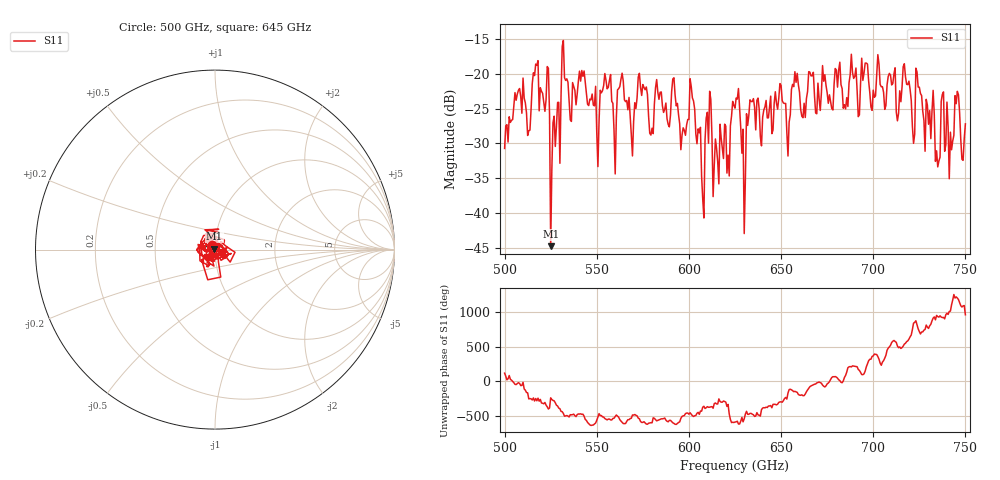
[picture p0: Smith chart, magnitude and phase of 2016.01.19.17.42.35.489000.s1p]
!Created with skrf (http://scikit-rf.org).
# GHz S RI R 50.0
!freq ReS11 ImS11
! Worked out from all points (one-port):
!   401 points, 500 GHz to 750 GHz, reference 50 ohm
!   lowest |S11| = -44.7 dB at 525 GHz (marker M1), VSWR 1.01, Z = 49.7 + j0.491 ohm
!   |S11| at or under -10 dB: start of sweep to end of sweep
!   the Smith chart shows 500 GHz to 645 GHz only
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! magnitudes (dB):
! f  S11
! 500 GHz  -30.7
! 506.9 GHz  -22.9
! 513.1 GHz  -28.2
! 516.9 GHz  -18.6
! 525 GHz  -44.7
! 531.2 GHz  -16.1
! 550 GHz  -28.4
! 556.2 GHz  -22.0
! 559.4 GHz  -28.2
! 562.5 GHz  -21.9
! 569.4 GHz  -31.8
! 573.8 GHz  -22.0
! 579.4 GHz  -28.8
! 593.8 GHz  -24.3
! 601.9 GHz  -23.5
! 607.5 GHz  -38.0
! 610.6 GHz  -30.0
! 614.4 GHz  -29.4
! 625 GHz  -24.9
! 629.4 GHz  -28.0
! 633.8 GHz  -24.0
! 653.8 GHz  -31.8
! 656.2 GHz  -21.5
! 687.5 GHz  -20.1
! 718.8 GHz  -21.6
! 735 GHz  -33.4
! 745.6 GHz  -22.5
! 750 GHz  -27.2
